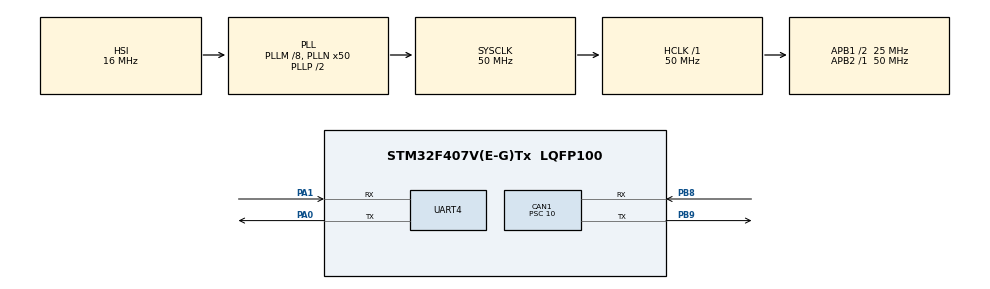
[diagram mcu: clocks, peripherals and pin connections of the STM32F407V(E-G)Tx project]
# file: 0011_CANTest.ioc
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CAN1.BS1=CAN_BS1_8TQ
CAN1.CalculateBaudRate=250000
CAN1.CalculateTimeBit=4000
CAN1.CalculateTimeQuantum=400.0
CAN1.NART=ENABLE
CAN1.Prescaler=10
Mcu.Family=STM32F4
Mcu.Name=STM32F407V(E-G)Tx
Mcu.Package=LQFP100
NVIC.CAN1_RX0_IRQn=true\:0\:0\:false\:false\:true\:true\:true\:true
NVIC.CAN1_RX1_IRQn=true\:0\:0\:false\:false\:true\:true\:true\:true
NVIC.CAN1_SCE_IRQn=true\:0\:0\:false\:false\:true\:true\:true\:true
NVIC.CAN1_TX_IRQn=true\:0\:0\:false\:false\:true\:true\:true\:true
NVIC.PriorityGroup=NVIC_PRIORITYGROUP_4
PA0-WKUP.Mode=Asynchronous
PA0-WKUP.Signal=UART4_TX
PA1.Mode=Asynchronous
PA1.Signal=UART4_RX
PB8.GPIO_PuPd=GPIO_PULLDOWN
PB8.Mode=CAN_Activate
PB8.Signal=CAN1_RX
PB9.GPIO_PuPd=GPIO_PULLDOWN
PB9.Mode=CAN_Activate
PB9.Signal=CAN1_TX
ProjectManager.HeapSize=0x200
ProjectManager.StackSize=0x400
ProjectManager.TargetToolchain=STM32CubeIDE
RCC.48MHZClocksFreq_Value=25000000
RCC.AHBFreq_Value=50000000
RCC.APB1CLKDivider=RCC_HCLK_DIV2
RCC.APB1Freq_Value=25000000
RCC.APB1TimFreq_Value=50000000
RCC.APB2Freq_Value=50000000
RCC.APB2TimFreq_Value=50000000
RCC.CortexFreq_Value=50000000
RCC.HCLKFreq_Value=50000000
RCC.HSE_VALUE=25000000
RCC.HSI_VALUE=16000000
RCC.LSE_VALUE=32768
RCC.PLLM=8
RCC.PLLN=50
RCC.SYSCLKFreq_VALUE=50000000
RCC.SYSCLKSource=RCC_SYSCLKSOURCE_PLLCLK
RCC.VCOOutputFreq_Value=100000000
UART4.VirtualMode=Asynchronous
board=custom

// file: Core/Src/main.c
/* USER CODE BEGIN Header */
/**
  ******************************************************************************
  * @file           : main.c
  * @brief          : Main program body
  ******************************************************************************
  * @attention
  *
  * Copyright (c) 2022 STMicroelectronics.
  * All rights reserved.
  *
  * This software is licensed under terms that can be found in the LICENSE file
  * in the root directory of this software component.
  * If no LICENSE file comes with this software, it is provided AS-IS.
  *
  ******************************************************************************
  */
/* USER CODE END Header */
#include "main.h"

 CAN_HandleTypeDef hcan1;

UART_HandleTypeDef huart4;

/* USER CODE BEGIN PV */
CAN_TxHeaderTypeDef pHeader; //declare a specific header for message transmittions
CAN_RxHeaderTypeDef pRxHeader; //declare header for message reception
uint32_t TxMailbox;
uint8_t r[8]; //declare byte to be transmitted //declare a receive byte
CAN_FilterTypeDef sFilterConfig; //declare CAN filter structure
uint8_t a[8];
/* USER CODE END PV */

void SystemClock_Config(void);
static void MX_GPIO_Init(void);
static void MX_CAN1_Init(void);
static void MX_UART4_Init(void);

int main(void)
{

  /* MCU Configuration--------------------------------------------------------*/

  /* Reset of all peripherals, Initializes the Flash interface and the Systick. */
  HAL_Init();

  /* Configure the system clock */
  SystemClock_Config();

  /* Initialize all configured peripherals */
  MX_GPIO_Init();
  MX_CAN1_Init();
  MX_UART4_Init();
  /* USER CODE BEGIN 2 */

	//filter one (stack light blink)
//	sFilterConfig.FilterFIFOAssignment=CAN_FILTER_FIFO0; //set fifo assignment
//	sFilterConfig.FilterIdHigh=0x245<<5; //the ID that the filter looks for (switch this for the other microcontroller)
//	sFilterConfig.FilterIdLow=0;
//	sFilterConfig.FilterMaskIdHigh=0;
//	sFilterConfig.FilterMaskIdLow=0;
//	sFilterConfig.FilterScale=CAN_FILTERSCALE_32BIT; //set filter scale
//	sFilterConfig.FilterActivation=ENABLE;

	sFilterConfig.FilterFIFOAssignment=CAN_FILTER_FIFO0; //set fifo assignment
	sFilterConfig.FilterIdHigh=0; //the ID that the filter looks for (switch this for the other microcontroller)
	sFilterConfig.FilterIdLow=0;
	sFilterConfig.FilterMaskIdHigh=0;
	sFilterConfig.FilterMaskIdLow=0;
	sFilterConfig.FilterScale=CAN_FILTERSCALE_32BIT; //set filter scale
	sFilterConfig.FilterActivation=ENABLE;

	HAL_CAN_ConfigFilter(&hcan1, &sFilterConfig); //configure CAN filter

	HAL_CAN_Start(&hcan1); //start CAN
	HAL_CAN_ActivateNotification(&hcan1, 	CAN_IT_TX_MAILBOX_EMPTY |
											CAN_IT_RX_FIFO0_MSG_PENDING); //enable interrupts

	pHeader.DLC=8; //give message size of 1 byte
	pHeader.IDE=CAN_ID_STD; //set identifier to standard
	pHeader.RTR=CAN_RTR_DATA; //set data type to remote transmission request?
	pHeader.StdId=245; //define a standard identifier, used for message identification by filters (switch this for the other microcontroller)

	a[0] = 0xDE;
	a[1] = 0xAD;
	a[2] = 0xDE;
	a[3] = 0xAD;
	a[4] = 0xDE;
	a[5] = 0xAD;
	a[6] = 0xDE;
	a[7] = 0xAD;

	/* USER CODE END 2 */

  /* Infinite loop */
  while (1)
  {

    /* USER CODE BEGIN 3 */

  	HAL_CAN_AddTxMessage(&hcan1, &pHeader, &a, &TxMailbox);  //function to add message for transmition
  	HAL_Delay(100);
  }
  /* USER CODE END 3 */
}

void SystemClock_Config(void)
{
  RCC_OscInitTypeDef RCC_OscInitStruct = {0};
  RCC_ClkInitTypeDef RCC_ClkInitStruct = {0};

  /** Configure the main internal regulator output voltage
  */
  __HAL_RCC_PWR_CLK_ENABLE();
  __HAL_PWR_VOLTAGESCALING_CONFIG(PWR_REGULATOR_VOLTAGE_SCALE1);

  /** Initializes the RCC Oscillators according to the specified parameters
  * in the RCC_OscInitTypeDef structure.
  */
  RCC_OscInitStruct.OscillatorType = RCC_OSCILLATORTYPE_HSI;
  RCC_OscInitStruct.HSIState = RCC_HSI_ON;
  RCC_OscInitStruct.HSICalibrationValue = RCC_HSICALIBRATION_DEFAULT;
  RCC_OscInitStruct.PLL.PLLState = RCC_PLL_ON;
  RCC_OscInitStruct.PLL.PLLSource = RCC_PLLSOURCE_HSI;
  RCC_OscInitStruct.PLL.PLLM = 8;
  RCC_OscInitStruct.PLL.PLLN = 50;
  RCC_OscInitStruct.PLL.PLLP = RCC_PLLP_DIV2;
  RCC_OscInitStruct.PLL.PLLQ = 4;
  if (HAL_RCC_OscConfig(&RCC_OscInitStruct) != HAL_OK)
  {
    Error_Handler();
  }

  /** Initializes the CPU, AHB and APB buses clocks
  */
  RCC_ClkInitStruct.ClockType = RCC_CLOCKTYPE_HCLK|RCC_CLOCKTYPE_SYSCLK
                              |RCC_CLOCKTYPE_PCLK1|RCC_CLOCKTYPE_PCLK2;
  RCC_ClkInitStruct.SYSCLKSource = RCC_SYSCLKSOURCE_PLLCLK;
  RCC_ClkInitStruct.AHBCLKDivider = RCC_SYSCLK_DIV1;
  RCC_ClkInitStruct.APB1CLKDivider = RCC_HCLK_DIV2;
  RCC_ClkInitStruct.APB2CLKDivider = RCC_HCLK_DIV1;

  if (HAL_RCC_ClockConfig(&RCC_ClkInitStruct, FLASH_LATENCY_1) != HAL_OK)
  {
    Error_Handler();
  }
}

static void MX_CAN1_Init(void)
{

  hcan1.Instance = CAN1;
  hcan1.Init.Prescaler = 10;
  hcan1.Init.Mode = CAN_MODE_NORMAL;
  hcan1.Init.SyncJumpWidth = CAN_SJW_1TQ;
  hcan1.Init.TimeSeg1 = CAN_BS1_8TQ;
  hcan1.Init.TimeSeg2 = CAN_BS2_1TQ;
  hcan1.Init.TimeTriggeredMode = DISABLE;
  hcan1.Init.AutoBusOff = DISABLE;
  hcan1.Init.AutoWakeUp = DISABLE;
  hcan1.Init.AutoRetransmission = ENABLE;
  hcan1.Init.ReceiveFifoLocked = DISABLE;
  hcan1.Init.TransmitFifoPriority = DISABLE;
  if (HAL_CAN_Init(&hcan1) != HAL_OK)
  {
    Error_Handler();
  }

}

static void MX_UART4_Init(void)
{

  huart4.Instance = UART4;
  huart4.Init.BaudRate = 115200;
  huart4.Init.WordLength = UART_WORDLENGTH_8B;
  huart4.Init.StopBits = UART_STOPBITS_1;
  huart4.Init.Parity = UART_PARITY_NONE;
  huart4.Init.Mode = UART_MODE_TX_RX;
  huart4.Init.HwFlowCtl = UART_HWCONTROL_NONE;
  huart4.Init.OverSampling = UART_OVERSAMPLING_16;
  if (HAL_UART_Init(&huart4) != HAL_OK)
  {
    Error_Handler();
  }

}

static void MX_GPIO_Init(void)
{

  /* GPIO Ports Clock Enable */
  __HAL_RCC_GPIOA_CLK_ENABLE();
  __HAL_RCC_GPIOB_CLK_ENABLE();

}

void Error_Handler(void)
{
  __disable_irq();
  while (1)
  {
  }
}
